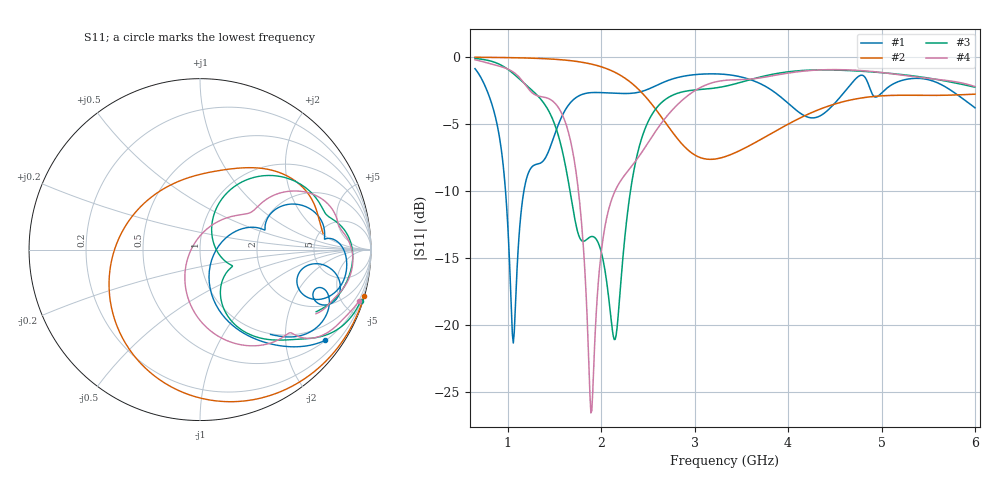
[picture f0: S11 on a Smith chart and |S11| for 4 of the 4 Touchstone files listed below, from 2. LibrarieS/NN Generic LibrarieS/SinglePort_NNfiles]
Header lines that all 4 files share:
! IGNION VIRTUAL ANTENNA LIBRARY
! Frequency range 0.65GHz to 6GHz, step 10MHz
! Number of ports 1
! Need more help? Your platform is much different than these examples in the manual? Use our
! Fast Track service (https://ignion.io/fast-track/), for free, and get a personalized antenna design in
! just 24 hours.
! Touchstone port 1 = "Series Port"
! IE3D S-Parameters Output Version 2.0
# GHZ S MA R 50
Fixed: Nport = 1
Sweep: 650 MHz to 6 GHz
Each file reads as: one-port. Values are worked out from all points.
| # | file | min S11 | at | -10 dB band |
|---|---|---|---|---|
| 1 | NN_ALL_B145x130_C45x24.s1p | -21.4 dB | 1.06 GHz | 197.4 MHz wide |
| 2 | NN_RUN_B30x30_C14x5.s1p | -7.6 dB | 3.17 GHz | - |
| 3 | NN_RUN_B90x90_C90x11.s1p | -21.1 dB | 2.14 GHz | 647.9 MHz wide |
| 4 | NN_RUN_B140x120_C120x11.s1p | -26.6 dB | 1.89 GHz | 392.8 MHz wide |
